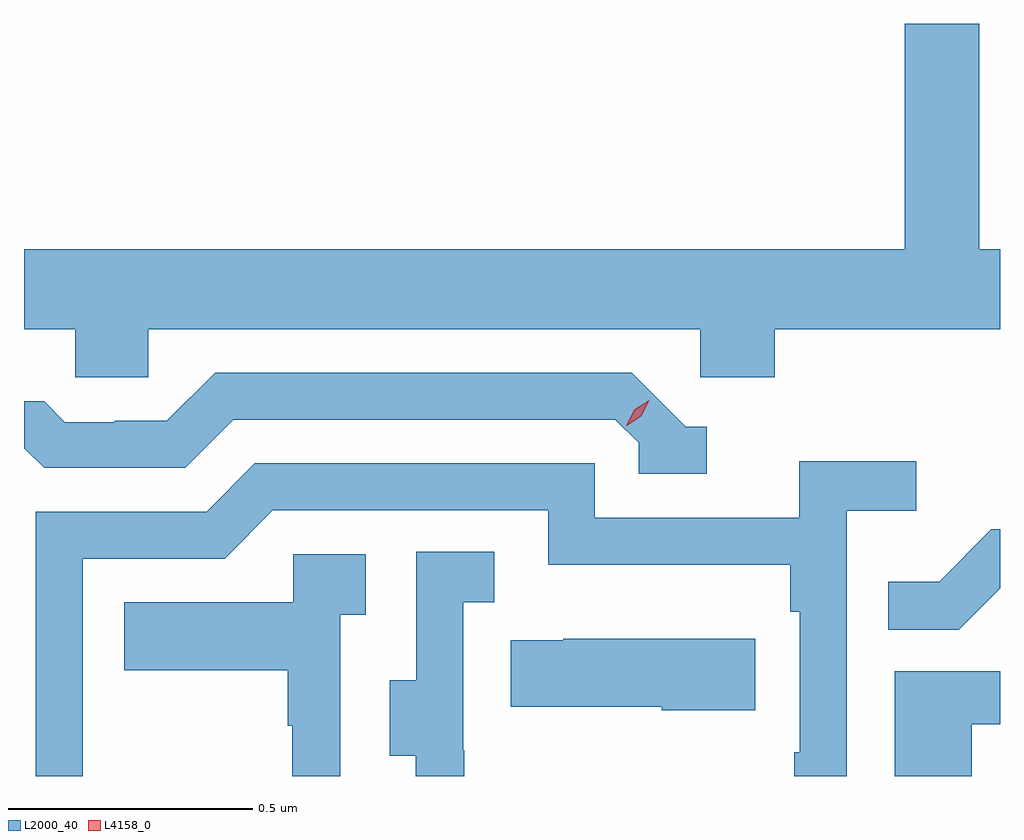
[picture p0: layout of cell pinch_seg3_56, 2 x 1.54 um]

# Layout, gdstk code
import gdstk
lib = gdstk.Library(unit=1e-6, precision=1e-09)
def P(c, l, *ps):  # polygons
    for p in ps: c.add(gdstk.Polygon(p, *l))
L2000_40 = (2000, 40)
L4158_0 = (4158, 0)

pinch_seg3_56 = lib.new_cell('pinch_seg3_56')
P(pinch_seg3_56, L2000_40, [(1073.793,746.204),(1074.924,746.204),(1074.924,746.106),(1075.076,746.106),(1075.076,746.204),(1075.538,746.204),(1075.538,746.368),(1075.495,746.368),(1075.495,746.83),(1075.343,746.83),(1075.343,746.368),(1073.538,746.368),(1073.538,746.204),(1073.643,746.204),(1073.643,746.106),(1073.793,746.106)],
  [(1074.937,746.004),(1074.894,746.004),(1074.783,746.115),(1073.93,746.115),(1073.831,746.016),(1073.724,746.016),(1073.724,746.013),(1073.621,746.013),(1073.579,746.056),(1073.538,746.056),(1073.538,745.959),(1073.54,745.959),(1073.579,745.92),(1073.868,745.92),(1073.967,746.019),(1074.75,746.019),(1074.798,745.971),(1074.798,745.908),(1074.937,745.908)],
  [(1073.658,745.734),(1073.949,745.734),(1074.048,745.833),(1074.612,745.833),(1074.612,745.721),(1075.108,745.721),(1075.108,745.625),(1075.128,745.625),(1075.128,745.337),(1075.116,745.337),(1075.116,745.288),(1075.224,745.288),(1075.224,745.832),(1075.366,745.832),(1075.366,745.934),(1075.127,745.934),(1075.127,745.818),(1074.708,745.818),(1074.708,745.929),(1074.011,745.929),(1073.912,745.83),(1073.562,745.83),(1073.562,745.288),(1073.658,745.288)],
  [(1075.538,745.673),(1075.538,745.794),(1075.52,745.794),(1075.413,745.687),(1075.309,745.687),(1075.309,745.588),(1075.453,745.588)],
  [(1074.44,745.341),(1074.438,745.341),(1074.438,745.645),(1074.502,745.645),(1074.502,745.748),(1074.342,745.748),(1074.342,745.485),(1074.287,745.485),(1074.287,745.33),(1074.341,745.33),(1074.341,745.288),(1074.44,745.288)],
  [(1074.186,745.619),(1074.238,745.619),(1074.238,745.743),(1074.09,745.743),(1074.09,745.645),(1073.743,745.645),(1073.743,745.505),(1074.078,745.505),(1074.078,745.391),(1074.088,745.391),(1074.088,745.288),(1074.186,745.288)],
  [(1075.036,745.57),(1074.643,745.57),(1074.643,745.567),(1074.535,745.567),(1074.535,745.43),(1074.845,745.43),(1074.845,745.423),(1075.036,745.423)],
  [(1075.48,745.395),(1075.538,745.395),(1075.538,745.503),(1075.322,745.503),(1075.322,745.288),(1075.48,745.288)])
P(pinch_seg3_56, L4158_0, [(1074.772,746.006),(1074.772,746.006),(1074.788,746.039),(1074.819,746.059),(1074.819,746.059),(1074.819,746.059),(1074.803,746.026),(1074.773,746.006)])

lib.write_gds('pinch_seg3_56.gds')
